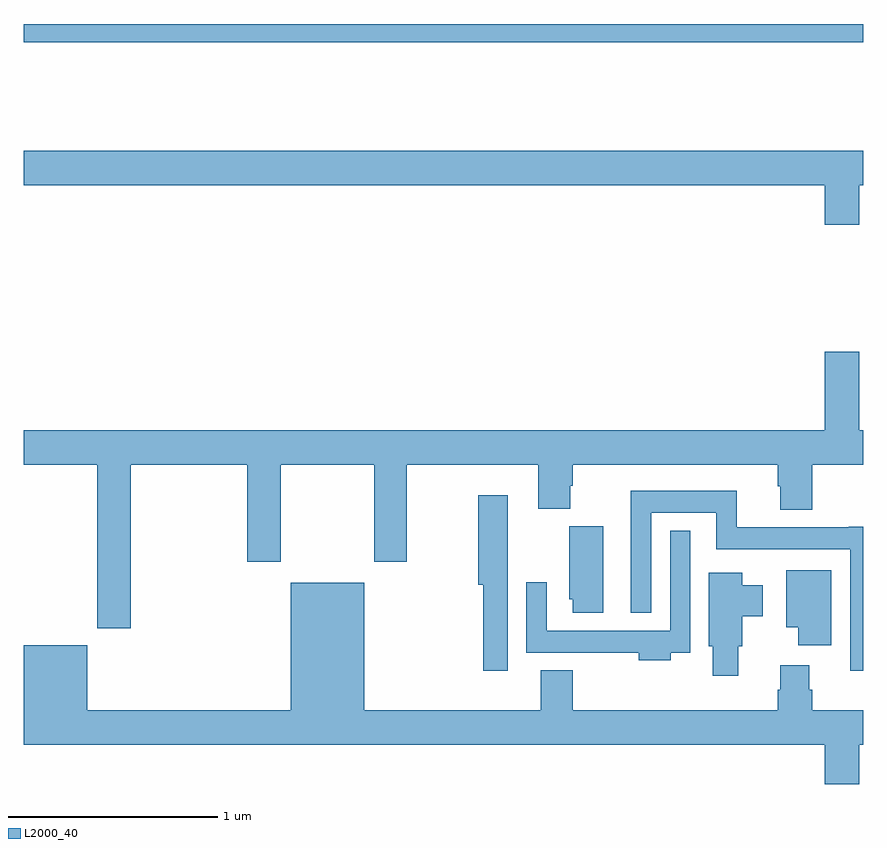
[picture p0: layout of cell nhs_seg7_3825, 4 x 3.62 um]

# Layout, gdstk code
import gdstk
lib = gdstk.Library(unit=1e-6, precision=1e-09)
def R(c, l, rs):  # rectangles x0, y0, x1, y1
    for r in rs: c.add(gdstk.rectangle(r[:2], r[2:], *l))
def P(c, l, *ps):  # polygons
    for p in ps: c.add(gdstk.Polygon(p, *l))
L2000_40 = (2000, 40)

nhs_seg7_3825 = lib.new_cell('nhs_seg7_3825')
R(nhs_seg7_3825, L2000_40, [(353,1051.912,357,1052)])
P(nhs_seg7_3825, L2000_40, [(356.98,1051.232),(357,1051.232),(357,1051.396),(353,1051.396),(353,1051.232),(356.816,1051.232),(356.816,1051.044),(356.98,1051.044)],
  [(357,1050.064),(356.98,1050.064),(356.98,1050.439),(356.816,1050.439),(356.816,1050.064),(353,1050.064),(353,1049.9),(353.35,1049.9),(353.35,1049.121),(353.51,1049.121),(353.51,1049.9),(354.065,1049.9),(354.065,1049.439),(354.225,1049.439),(354.225,1049.9),(354.67,1049.9),(354.67,1049.439),(354.825,1049.439),(354.825,1049.9),(355.451,1049.9),(355.451,1049.692),(355.603,1049.692),(355.603,1049.801),(355.616,1049.801),(355.616,1049.9),(356.591,1049.9),(356.591,1049.799),(356.603,1049.799),(356.603,1049.687),(356.756,1049.687),(356.756,1049.9),(357,1049.9)],
  [(357,1049.605),(356.93,1049.605),(356.93,1049.602),(356.396,1049.602),(356.396,1049.776),(355.892,1049.776),(355.892,1049.195),(355.989,1049.195),(355.989,1049.672),(356.298,1049.672),(356.298,1049.498),(356.937,1049.498),(356.937,1048.92),(357,1048.92)],
  [(355.305,1049.434),(355.306,1049.434),(355.306,1049.755),(355.165,1049.755),(355.165,1049.33),(355.189,1049.33),(355.189,1048.92),(355.305,1048.92)],
  [(355.762,1049.607),(355.598,1049.607),(355.598,1049.259),(355.616,1049.259),(355.616,1049.196),(355.762,1049.196)],
  [(356.083,1049.004),(356.175,1049.004),(356.175,1049.587),(356.079,1049.587),(356.079,1049.11),(355.491,1049.11),(355.491,1049.341),(355.395,1049.341),(355.395,1049.006),(355.699,1049.006),(355.699,1049.004),(355.931,1049.004),(355.931,1048.97),(356.083,1048.97)],
  [(356.848,1049.398),(356.633,1049.398),(356.633,1049.126),(356.69,1049.126),(356.69,1049.04),(356.848,1049.04)],
  [(356.404,1049.037),(356.422,1049.037),(356.422,1049.179),(356.521,1049.179),(356.521,1049.326),(356.422,1049.326),(356.422,1049.386),(356.264,1049.386),(356.264,1049.037),(356.282,1049.037),(356.282,1048.896),(356.404,1048.896)],
  [(356.98,1048.568),(357,1048.568),(357,1048.732),(356.756,1048.732),(356.756,1048.83),(356.743,1048.83),(356.743,1048.945),(356.603,1048.945),(356.603,1048.83),(356.591,1048.83),(356.591,1048.732),(355.616,1048.732),(355.616,1048.921),(355.463,1048.921),(355.463,1048.732),(354.622,1048.732),(354.622,1049.338),(354.272,1049.338),(354.272,1048.732),(353.302,1048.732),(353.302,1049.041),(353,1049.041),(353,1048.568),(356.816,1048.568),(356.816,1048.38),(356.98,1048.38)])

lib.write_gds('nhs_seg7_3825.gds')
